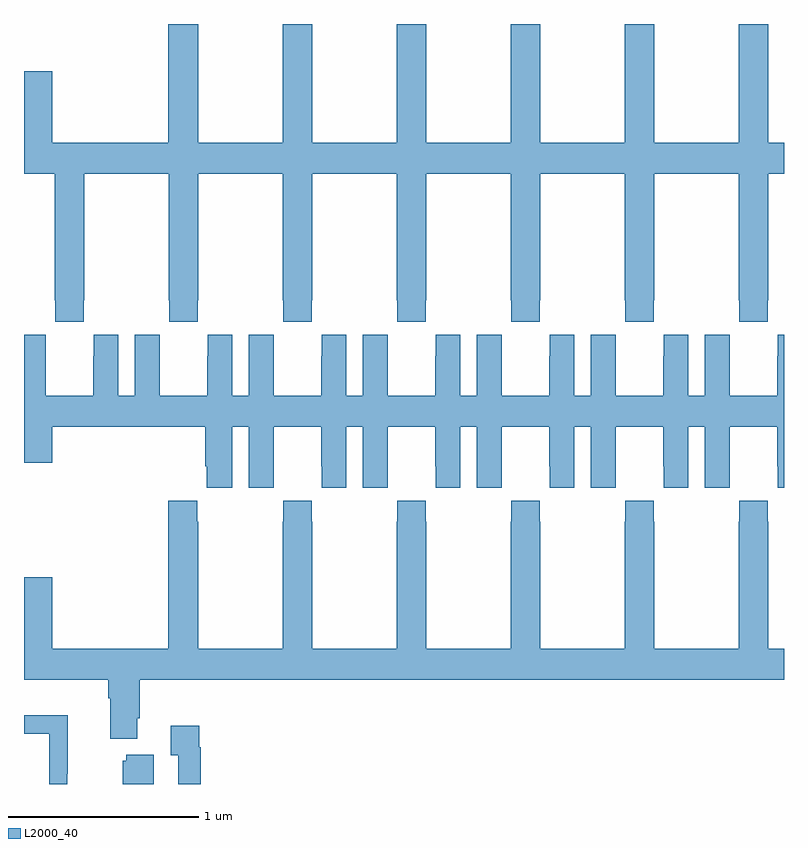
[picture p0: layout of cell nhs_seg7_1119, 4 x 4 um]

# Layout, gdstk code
import gdstk
lib = gdstk.Library(unit=1e-6, precision=1e-09)
def P(c, l, *ps):  # polygons
    for p in ps: c.add(gdstk.Polygon(p, *l))
L2000_40 = (2000, 40)

nhs_seg7_1119 = lib.new_cell('nhs_seg7_1119')
P(nhs_seg7_1119, L2000_40, [(191.563,1071.376),(191.118,1071.376),(191.118,1072),(190.963,1072),(190.963,1071.376),(190.518,1071.376),(190.518,1072),(190.363,1072),(190.363,1071.376),(189.918,1071.376),(189.918,1072),(189.758,1072),(189.758,1071.376),(189.148,1071.376),(189.148,1071.751),(189,1071.751),(189,1071.212),(189.163,1071.212),(189.163,1070.545),(189.165,1070.545),(189.165,1070.433),(189.315,1070.433),(189.315,1070.545),(189.318,1070.545),(189.318,1071.212),(189.763,1071.212),(189.763,1070.545),(189.765,1070.545),(189.765,1070.433),(189.915,1070.433),(189.915,1070.545),(189.918,1070.545),(189.918,1071.212),(190.363,1071.212),(190.363,1070.545),(190.365,1070.545),(190.365,1070.433),(190.515,1070.433),(190.515,1070.545),(190.518,1070.545),(190.518,1071.212),(190.963,1071.212),(190.963,1070.545),(190.965,1070.545),(190.965,1070.433),(191.115,1070.433),(191.115,1070.545),(191.118,1070.545),(191.118,1071.212),(191.563,1071.212),(191.563,1070.545),(191.565,1070.545),(191.565,1070.433),(191.715,1070.433),(191.715,1070.545),(191.718,1070.545),(191.718,1071.212),(192.163,1071.212),(192.163,1070.545),(192.165,1070.545),(192.165,1070.433),(192.315,1070.433),(192.315,1070.545),(192.318,1070.545),(192.318,1071.212),(192.763,1071.212),(192.763,1070.545),(192.765,1070.545),(192.765,1070.433),(192.915,1070.433),(192.915,1070.545),(192.918,1070.545),(192.918,1071.212),(193,1071.212),(193,1071.376),(192.918,1071.376),(192.918,1072),(192.763,1072),(192.763,1071.376),(192.318,1071.376),(192.318,1072),(192.163,1072),(192.163,1071.376),(191.718,1071.376),(191.718,1072),(191.563,1072)],
  [(190.096,1069.88),(190.184,1069.88),(190.184,1069.56),(190.314,1069.56),(190.314,1069.672),(190.315,1069.672),(190.315,1069.88),(190.565,1069.88),(190.565,1069.672),(190.566,1069.672),(190.566,1069.56),(190.696,1069.56),(190.696,1069.88),(190.784,1069.88),(190.784,1069.56),(190.914,1069.56),(190.914,1069.672),(190.915,1069.672),(190.915,1069.88),(191.165,1069.88),(191.165,1069.672),(191.166,1069.672),(191.166,1069.56),(191.296,1069.56),(191.296,1069.88),(191.384,1069.88),(191.384,1069.56),(191.514,1069.56),(191.514,1069.672),(191.515,1069.672),(191.515,1069.88),(191.765,1069.88),(191.765,1069.672),(191.766,1069.672),(191.766,1069.56),(191.896,1069.56),(191.896,1069.88),(191.984,1069.88),(191.984,1069.56),(192.114,1069.56),(192.114,1069.672),(192.115,1069.672),(192.115,1069.88),(192.365,1069.88),(192.365,1069.672),(192.366,1069.672),(192.366,1069.56),(192.496,1069.56),(192.496,1069.88),(192.584,1069.88),(192.584,1069.56),(192.714,1069.56),(192.714,1069.672),(192.715,1069.672),(192.715,1069.88),(192.965,1069.88),(192.965,1069.672),(192.966,1069.672),(192.966,1069.56),(193,1069.56),(193,1070.365),(192.966,1070.365),(192.966,1070.252),(192.965,1070.252),(192.965,1070.044),(192.715,1070.044),(192.715,1070.252),(192.714,1070.252),(192.714,1070.365),(192.584,1070.365),(192.584,1070.044),(192.496,1070.044),(192.496,1070.365),(192.366,1070.365),(192.366,1070.252),(192.365,1070.252),(192.365,1070.044),(192.115,1070.044),(192.115,1070.252),(192.114,1070.252),(192.114,1070.365),(191.984,1070.365),(191.984,1070.044),(191.896,1070.044),(191.896,1070.365),(191.766,1070.365),(191.766,1070.252),(191.765,1070.252),(191.765,1070.044),(191.515,1070.044),(191.515,1070.252),(191.514,1070.252),(191.514,1070.365),(191.384,1070.365),(191.384,1070.044),(191.296,1070.044),(191.296,1070.365),(191.166,1070.365),(191.166,1070.252),(191.165,1070.252),(191.165,1070.044),(190.915,1070.044),(190.915,1070.252),(190.914,1070.252),(190.914,1070.365),(190.784,1070.365),(190.784,1070.044),(190.696,1070.044),(190.696,1070.365),(190.566,1070.365),(190.566,1070.252),(190.565,1070.252),(190.565,1070.044),(190.315,1070.044),(190.315,1070.252),(190.314,1070.252),(190.314,1070.365),(190.184,1070.365),(190.184,1070.044),(190.096,1070.044),(190.096,1070.365),(189.966,1070.365),(189.966,1070.252),(189.965,1070.252),(189.965,1070.044),(189.715,1070.044),(189.715,1070.252),(189.714,1070.252),(189.714,1070.365),(189.584,1070.365),(189.584,1070.044),(189.496,1070.044),(189.496,1070.365),(189.366,1070.365),(189.366,1070.252),(189.365,1070.252),(189.365,1070.044),(189.115,1070.044),(189.115,1070.252),(189.114,1070.252),(189.114,1070.365),(189,1070.365),(189,1069.692),(189.148,1069.692),(189.148,1069.88),(189.953,1069.88),(189.953,1069.672),(189.962,1069.672),(189.962,1069.56),(190.096,1069.56)],
  [(192.765,1069.492),(192.765,1069.379),(192.763,1069.379),(192.763,1068.712),(192.318,1068.712),(192.318,1069.379),(192.315,1069.379),(192.315,1069.492),(192.165,1069.492),(192.165,1069.379),(192.163,1069.379),(192.163,1068.712),(191.718,1068.712),(191.718,1069.379),(191.715,1069.379),(191.715,1069.492),(191.565,1069.492),(191.565,1069.379),(191.563,1069.379),(191.563,1068.712),(191.118,1068.712),(191.118,1069.379),(191.115,1069.379),(191.115,1069.492),(190.965,1069.492),(190.965,1069.379),(190.963,1069.379),(190.963,1068.712),(190.518,1068.712),(190.518,1069.379),(190.515,1069.379),(190.515,1069.492),(190.365,1069.492),(190.365,1069.379),(190.363,1069.379),(190.363,1068.712),(189.918,1068.712),(189.918,1069.379),(189.911,1069.379),(189.911,1069.492),(189.758,1069.492),(189.758,1068.712),(189.148,1068.712),(189.148,1069.087),(189,1069.087),(189,1068.548),(189.443,1068.548),(189.443,1068.452),(189.455,1068.452),(189.455,1068.239),(189.595,1068.239),(189.595,1068.346),(189.608,1068.346),(189.608,1068.548),(193,1068.548),(193,1068.712),(192.918,1068.712),(192.918,1069.379),(192.915,1069.379),(192.915,1069.492)],
  [(189.228,1068.055),(189.231,1068.055),(189.231,1068.362),(189,1068.362),(189,1068.264),(189.132,1068.264),(189.132,1068),(189.228,1068)],
  [(189.929,1068.194),(189.922,1068.194),(189.922,1068.307),(189.773,1068.307),(189.773,1068.151),(189.813,1068.151),(189.813,1068),(189.929,1068)],
  [(189.682,1068.154),(189.539,1068.154),(189.539,1068.123),(189.521,1068.123),(189.521,1068),(189.682,1068)])

lib.write_gds('nhs_seg7_1119.gds')
